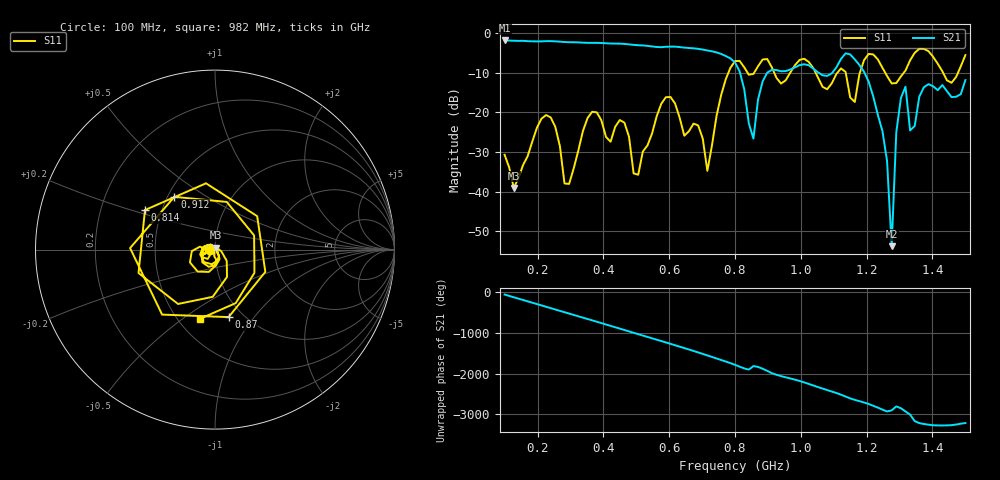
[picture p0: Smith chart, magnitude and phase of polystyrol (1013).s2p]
! NanoVNA-App
! Date: 2025-09-25 15:37:46
! Start: 100MHz Stop: 1,5GHz Points: 101
! S-Parameter data: F S11 S21 S12 S22
# Hz S RI R 50
!  Frequency  S11_Real  S11_Imag  S21_Real  S21_Imag  S12_Real  S12_Imag  S22_Real  S22_Imag
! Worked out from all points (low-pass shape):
!   101 points, 100 MHz to 1.5 GHz, reference 50 ohm
!   highest |S21| = -1.80 dB at 100 MHz (marker M1); lowest = -53.8 dB at 1.276 GHz (marker M2)
!   |S21| within 3 dB of the highest: start of sweep to 743 MHz
!   lowest |S11| = -39.1 dB at 128 MHz (marker M3), VSWR 1.02, Z = 50.3 + j1.06 ohm
!   |S11| at or under -10 dB: start of sweep to 779.8 MHz; 1.045 GHz to 1.111 GHz (65.56 MHz wide, 6.08 % of centre); 1.257 GHz to 1.313 GHz (55.84 MHz wide, 4.35 % of centre) (the widest 3 of 7)
!   S12 and S22 are empty: the file has one direction only
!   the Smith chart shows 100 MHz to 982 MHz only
!   S11 on the Smith chart (normalised r, x): 100 MHz: 0.94, -0.01; 814 MHz: 0.40, +0.22; 870 MHz: 0.86, -0.76; 912 MHz: 0.54, +0.37; 982 MHz: 0.64, -0.58
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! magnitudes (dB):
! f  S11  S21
! 100 MHz  -30.7  -1.8
! 128 MHz  -39.1  -1.9
! 212 MHz  -21.6  -2.0
! 282 MHz  -38.0  -2.2
! 338 MHz  -24.7  -2.4
! 506 MHz  -35.8  -3.0
! 576 MHz  -17.8  -3.5
! 716 MHz  -34.8  -4.3
! 800 MHz  -7.0  -7.4
! 814 MHz  -7.0  -9.6
! 856 MHz  -10.3  -26.6
! 870 MHz  -8.3  -16.7
! 912 MHz  -8.6  -9.2
! 982 MHz  -8.1  -8.6
! 1.038 GHz  -8.8  -8.9
! 1.164 GHz  -17.3  -6.6
! 1.206 GHz  -5.2  -12.2
! 1.262 GHz  -10.8  -32.3
! 1.276 GHz  -12.7  -53.8
! 1.29 GHz  -12.6  -25.1
! 1.318 GHz  -9.4  -13.5
! 1.5 GHz  -5.5  -11.8
